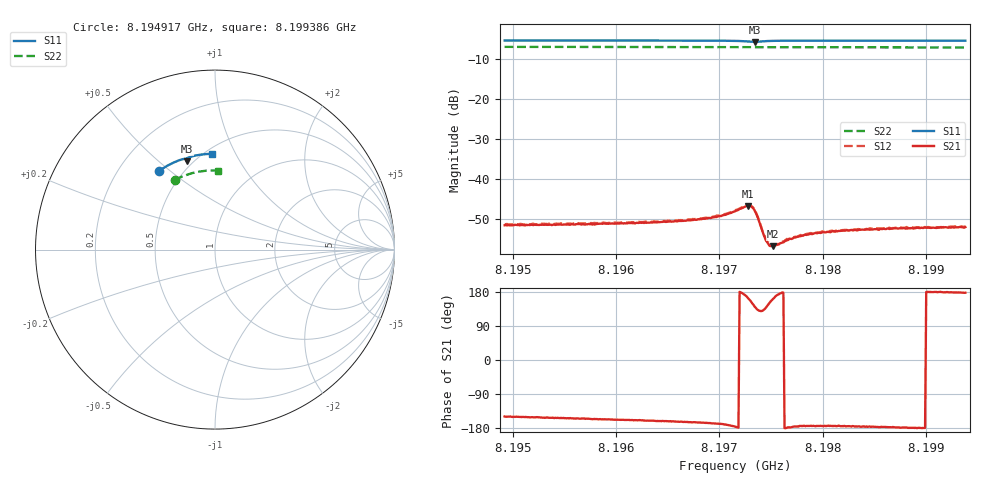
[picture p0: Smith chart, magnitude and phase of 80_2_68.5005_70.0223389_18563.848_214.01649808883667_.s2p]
#  HZ  S  RI  R  50.00
! Rohde & Schwarz Vector Network Analyzer
! Rohde-Schwarz,ZNB20-2Port,1311601062101988,3.16
! Created: UTC 3/20/2024, 4:52:07 PM
! freq[Hz]  re:S11  im:S11  re:S21  im:S21  re:S12  im:S12  re:S22  im:S22
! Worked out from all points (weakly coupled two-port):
!   401 points, 8.194917 GHz to 8.199386 GHz, reference 50 ohm
!   highest |S21| = -46.78 dB at 8.197274 GHz (marker M1); lowest = -56.9 dB at 8.19752 GHz (marker M2)
!   lowest |S11| = -5.7 dB at 8.197341 GHz (marker M3), VSWR 3.14, Z = 23.2 + j31.2 ohm
!   |S11| at or under -10 dB: nowhere
!   |S22| runs from -7.1 to -7.0 dB; largest |S21 - S12| = 0.00025
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8.1949166e9  -0.3127 0.4379  -0.00225 -0.00135  -0.00238 -0.00131  -0.2247 0.387
8.1956652e9  -0.2676 0.4661  -0.00242 -0.00115  -0.00253 -0.00109  -0.1871 0.4053
8.1964138e9  -0.2195 0.4897  -0.00271 -0.000926  -0.0028 -0.000845  -0.1478 0.4199
8.1967267e9  -0.1982 0.4982  -0.00291 -0.00082  -0.003 -0.000772  -0.1309 0.4249
8.1968943e9  -0.186 0.5022  -0.00315 -0.00075  -0.00323 -0.000657  -0.1219 0.4273
8.1970395e9  -0.1744 0.505  -0.00346 -0.000628  -0.00354 -0.000477  -0.1139 0.4293
8.1971513e9  -0.1641 0.506  -0.00391 -0.000302  -0.00398 -0.000133  -0.1077 0.4307
8.1972742e9  -0.1526 0.4996  -0.00442 0.00122  -0.00444 0.00143  -0.1011 0.4318
8.1973077e9  -0.1524 0.4954  -0.00405 0.002  -0.00402 0.00217  -0.0992 0.432
8.1973412e9  -0.1555 0.4927  -0.00313 0.00253  -0.00312 0.00271  -0.0974 0.4325
8.1973636e9  -0.1584 0.4932  -0.00243 0.00252  -0.00236 0.00265  -0.0963 0.4326
8.1974306e9  -0.1611 0.5008  -0.00134 0.00145  -0.00132 0.00153  -0.0928 0.4334
8.197453e9  -0.16 0.5034  -0.00126 0.00111  -0.00125 0.00117  -0.0915 0.4338
8.1974753e9  -0.1587 0.5055  -0.00128 0.000832  -0.00131 0.000918  -0.0905 0.434
8.1974865e9  -0.1577 0.5065  -0.00126 0.000705  -0.00129 0.000789  -0.0897 0.4341
8.1975088e9  -0.156 0.508  -0.00133 0.000544  -0.00136 0.000614  -0.0885 0.4345
8.19752e9  -0.155 0.5088  -0.00136 0.000457  -0.00137 0.000531  -0.0879 0.4346
8.1977435e9  -0.1372 0.517  -0.00185 -0.000144  -0.00187 -5.79e-05  -0.0752 0.4367
8.1978999e9  -0.1253 0.5203  -0.00202 -0.000202  -0.00207 -0.000143  -0.0664 0.4378
8.1982575e9  -0.0994 0.5258  -0.00223 -0.000215  -0.0023 -0.000112  -0.0465 0.4397
8.1986485e9  -0.0715 0.5301  -0.00235 -0.000104  -0.00245 -1.79e-05  -0.0244 0.4407
8.199386e9  -0.019 0.5337  -0.00248 0.000108  -0.00252 0.000225  0.0174 0.4398
